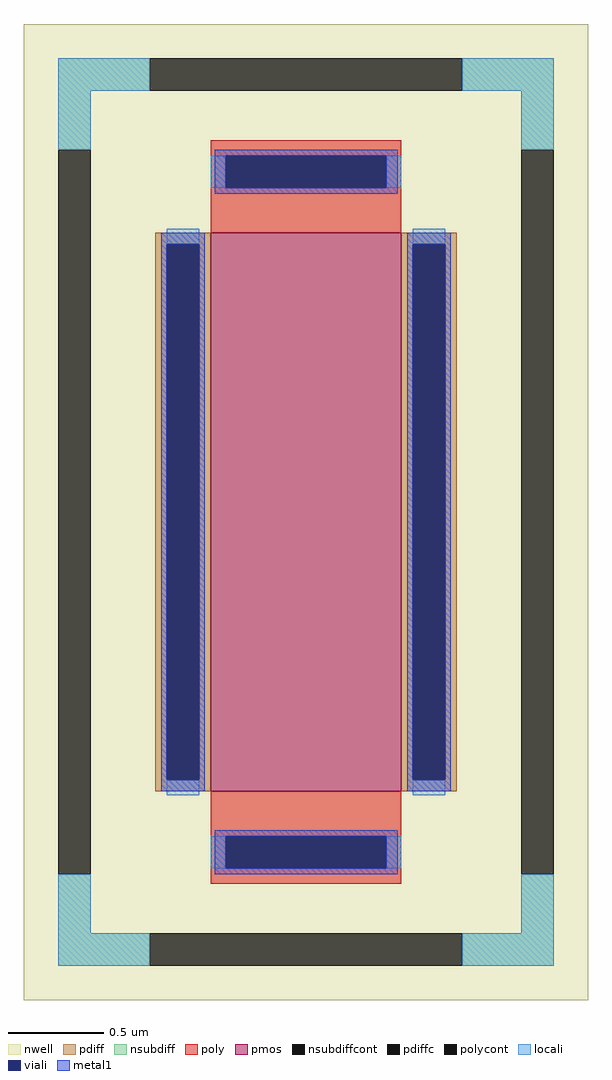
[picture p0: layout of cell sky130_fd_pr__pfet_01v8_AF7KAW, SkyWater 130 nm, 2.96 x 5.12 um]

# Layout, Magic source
magic
tech sky130A
magscale 1 2
<< nwell >>
rect -296 -512 296 512
<< pmos >>
rect -100 -293 100 293
<< pdiff >>
rect -158 281 -100 293
rect -158 -281 -146 281
rect -112 -281 -100 281
rect -158 -293 -100 -281
rect 100 281 158 293
rect 100 -281 112 281
rect 146 -281 158 281
rect 100 -293 158 -281
<< pdiffc >>
rect -146 -281 -112 281
rect 112 -281 146 281
<< nsubdiff >>
rect -260 442 -164 476
rect 164 442 260 476
rect -260 380 -226 442
rect 226 380 260 442
rect -260 -442 -226 -380
rect 226 -442 260 -380
rect -260 -476 -164 -442
rect 164 -476 260 -442
<< nsubdiffcont >>
rect -164 442 164 476
rect -260 -380 -226 380
rect 226 -380 260 380
rect -164 -476 164 -442
<< poly >>
rect -100 374 100 390
rect -100 340 -84 374
rect 84 340 100 374
rect -100 293 100 340
rect -100 -340 100 -293
rect -100 -374 -84 -340
rect 84 -374 100 -340
rect -100 -390 100 -374
<< polycont >>
rect -84 340 84 374
rect -84 -374 84 -340
<< locali >>
rect -260 442 -164 476
rect 164 442 260 476
rect -260 380 -226 442
rect 226 380 260 442
rect -100 340 -84 374
rect 84 340 100 374
rect -146 281 -112 297
rect -146 -297 -112 -281
rect 112 281 146 297
rect 112 -297 146 -281
rect -100 -374 -84 -340
rect 84 -374 100 -340
rect -260 -442 -226 -380
rect 226 -442 260 -380
rect -260 -476 -164 -442
rect 164 -476 260 -442
<< viali >>
rect -84 340 84 374
rect -146 -281 -112 281
rect 112 -281 146 281
rect -84 -374 84 -340
<< metal1 >>
rect -96 374 96 380
rect -96 340 -84 374
rect 84 340 96 374
rect -96 334 96 340
rect -152 281 -106 293
rect -152 -281 -146 281
rect -112 -281 -106 281
rect -152 -293 -106 -281
rect 106 281 152 293
rect 106 -281 112 281
rect 146 -281 152 281
rect 106 -293 152 -281
rect -96 -340 96 -334
rect -96 -374 -84 -340
rect 84 -374 96 -340
rect -96 -380 96 -374
<< properties >>
string gencell sky130_fd_pr__pfet_01v8
string FIXED_BBOX -243 -459 243 459
string parameters w 2.93 l 1.0 m 1 nf 1 diffcov 100 polycov 100 guard 1 glc 1 grc 1 gtc 1 gbc 1 tbcov 100 rlcov 100 topc 1 botc 1 poverlap 0 doverlap 1 lmin 0.15 wmin 0.42 compatible {sky130_fd_pr__pfet_01v8  sky130_fd_pr__pfet_01v8_lvt sky130_fd_pr__pfet_01v8_hvt  sky130_fd_pr__pfet_g5v0d10v5} full_metal 1 viasrc 100 viadrn 100 viagate 100 viagb 0 viagt 0 viagr 0 viagl 0
string library sky130
<< end >>
